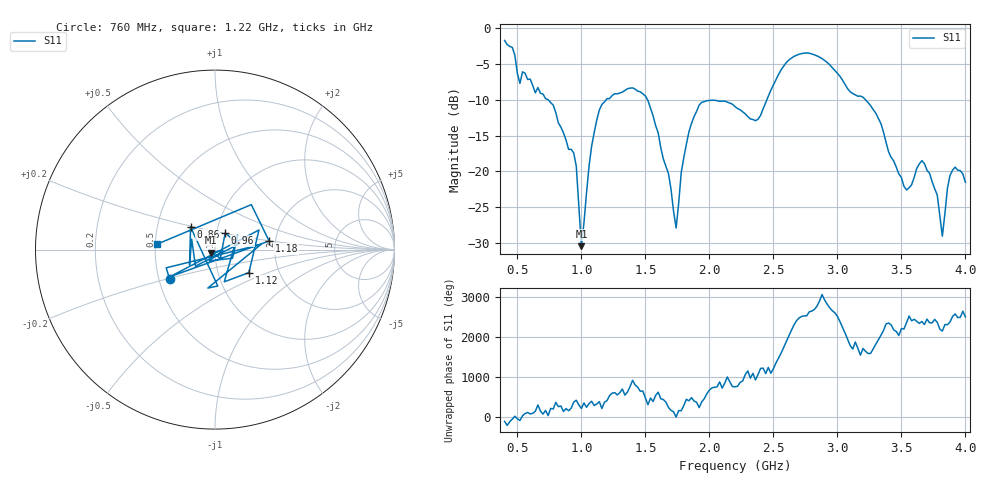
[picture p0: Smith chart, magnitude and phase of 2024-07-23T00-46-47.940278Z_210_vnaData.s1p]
!Created with skrf (http://scikit-rf.org).
# Hz S RI R 50.0
!freq ReS11 ImS11
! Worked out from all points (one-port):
!   181 points, 400 MHz to 4 GHz, reference 50 ohm
!   lowest |S11| = -30.5 dB at 1 GHz (marker M1), VSWR 1.06, Z = 47.5 - j1.56 ohm
!   |S11| at or under -10 dB: 740.9 MHz to 1.193 GHz (452.3 MHz wide, 46.8 % of centre); 1.517 GHz to 2.449 GHz (932.4 MHz wide, 47 % of centre); 3.22 GHz to end of sweep
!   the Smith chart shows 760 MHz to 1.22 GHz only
!   S11 on the Smith chart (normalised r, x): 760 MHz: 0.57, -0.21; 860 MHz: 0.74, +0.19; 960 MHz: 1.10, +0.21; 1.12 GHz: 1.40, -0.38; 1.18 GHz: 1.85, +0.20; 1.22 GHz: 0.51, +0.04
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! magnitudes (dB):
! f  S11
! 400 MHz  -1.7
! 520 MHz  -7.7
! 760 MHz  -10.4
! 860 MHz  -14.6
! 960 MHz  -19.3
! 1 GHz  -30.5
! 1.06 GHz  -19.2
! 1.12 GHz  -12.8
! 1.18 GHz  -10.3
! 1.22 GHz  -9.8
! 1.3 GHz  -9.1
! 1.52 GHz  -10.1
! 1.68 GHz  -20.3
! 1.74 GHz  -27.9
! 1.76 GHz  -24.5
! 1.84 GHz  -14.5
! 1.92 GHz  -10.7
! 2.2 GHz  -10.9
! 2.38 GHz  -12.7
! 2.66 GHz  -3.9
! 3.1 GHz  -8.9
! 3.3 GHz  -11.9
! 3.56 GHz  -22.3
! 3.68 GHz  -18.9
! 3.78 GHz  -23.3
! 3.82 GHz  -29.1
! 3.88 GHz  -20.6
! 4 GHz  -21.6
